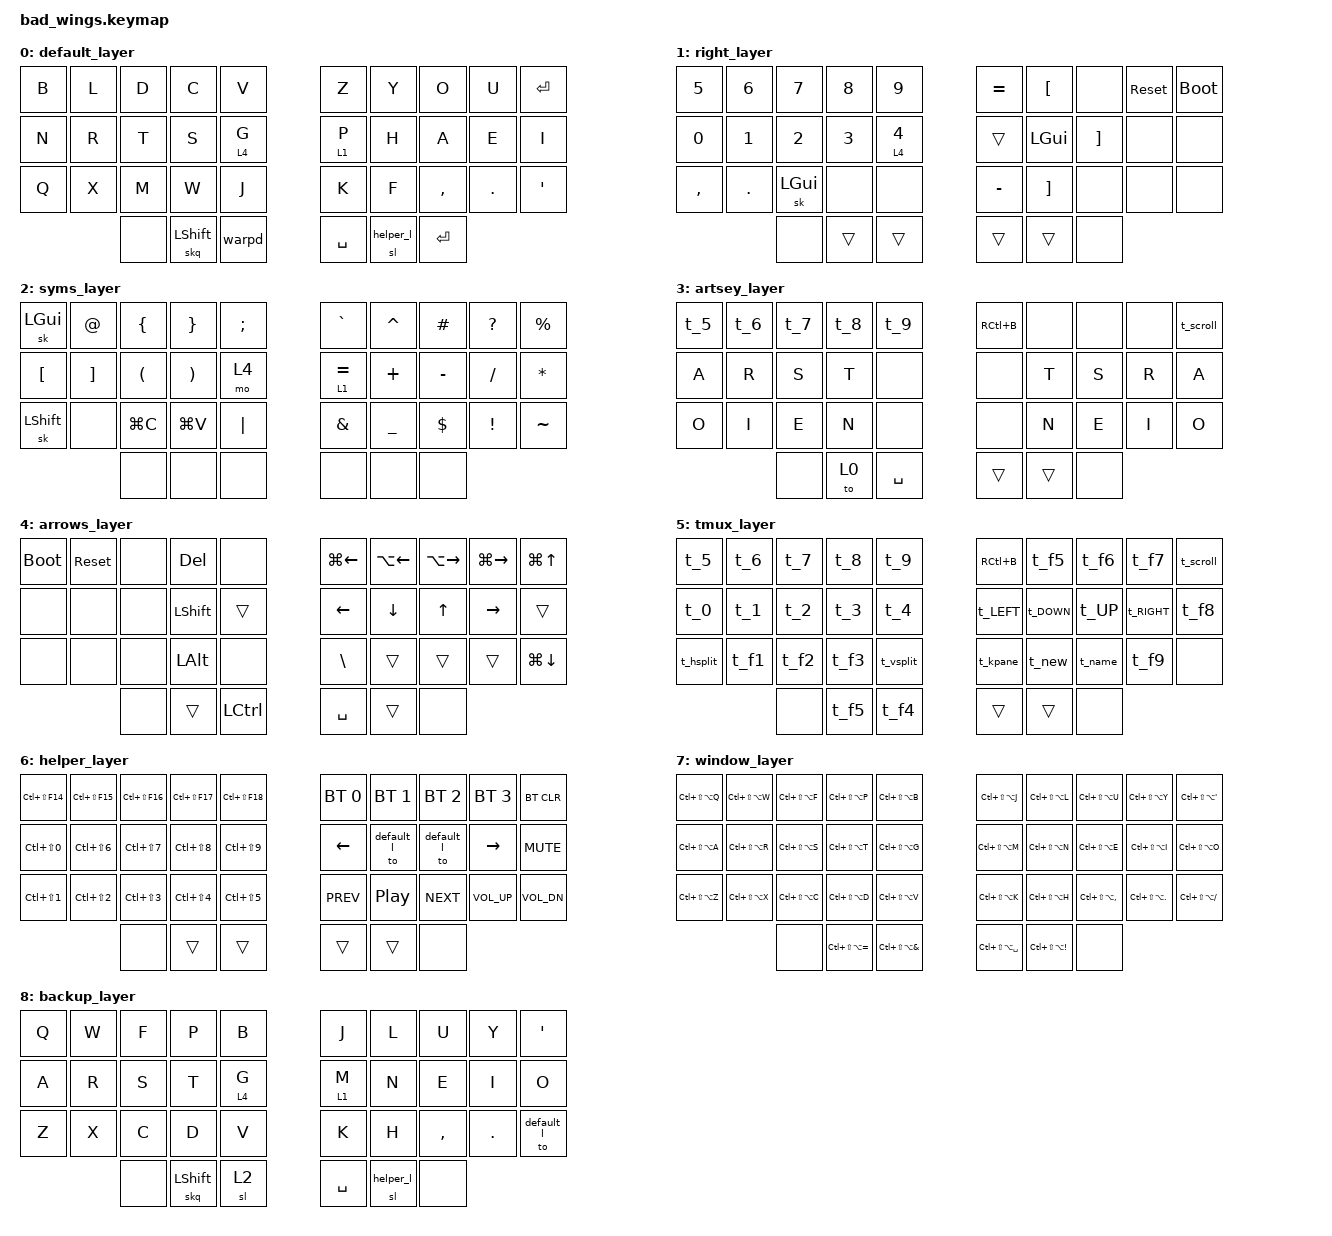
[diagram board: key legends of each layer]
/*
 * CopyRIGHT (c) 2020 The ZMK Contributors
 *
 * SPDX-License-Identifier: MIT
 */

#include <behaviors.dtsi>
#include <dt-bindings/zmk/keys.h>
#include <dt-bindings/zmk/bt.h>

#define default_l 0
#define nums_l    1
#define syms_l    2
#define artsey_l  3
#define arrows_l  4
#define tmux_l    5
#define helper_l  6
#define window_l  7
#define backup_l  8


// #define HRML(k1,k2,k3,k4) &ht LSHFT k1  &ht LALT k2  &ht LCTRL k3  &ht LGUI k4
// #define HRMR(k1,k2,k3,k4) &ht RGUI k1  &ht RCTRL k2  &ht RALT k3  &ht RSHFT k4

/ {

        macros {
            ZMK_MACRO(warpd,
                wait-ms = <30>;
                tap-ms = <40>;
                bindings = <&sk LALT &sk LALT &kp F >;
                )
            ZMK_MACRO(ff_tab,
                    wait-ms = <30>;
                    tap-ms = <40>;
                    bindings = <&kp LG(L) &kp PERCENT &kp SPACE >;
                )
            ZMK_MACRO(t_0,
                    wait-ms = <30>;
                    tap-ms = <40>;
                    bindings = <&kp RC(A) &kp N0 >;
                )

            ZMK_MACRO(t_1,
                    wait-ms = <30>;
                    tap-ms = <40>;
                    bindings = <&kp RC(A) &kp N1>;
                )

            ZMK_MACRO(t_2,
                    wait-ms = <30>;
                    tap-ms = <40>;
                    bindings = <&kp RC(A) &kp N2 >;
                )

            ZMK_MACRO(t_3,
                    wait-ms = <30>;
                    tap-ms = <40>;
                    bindings = <&kp RC(A) &kp N3>;
                )

            ZMK_MACRO(t_4,
                    wait-ms = <30>;
                    tap-ms = <40>;
                    bindings = <&kp RC(A) &kp N4 >;
                )

            ZMK_MACRO(t_5,
                    wait-ms = <30>;
                    tap-ms = <40>;
                    bindings = <&kp RC(A) &kp N5 >;
                )

            ZMK_MACRO(t_6,
                    wait-ms = <30>;
                    tap-ms = <40>;
                    bindings = <&kp RC(A) &kp N6 >;
                )

            ZMK_MACRO(t_7,
                    wait-ms = <30>;
                    tap-ms = <40>;
                    bindings = <&kp RC(A) &kp N7 >;
                )

            ZMK_MACRO(t_8,
                    wait-ms = <30>;
                    tap-ms = <40>;
                    bindings = <&kp RC(A) &kp N8 >;
                )

            ZMK_MACRO(t_9,
                    wait-ms = <30>;
                    tap-ms = <40>;
                    bindings = <&kp RC(A) &kp N9 >;
                )

            ZMK_MACRO(t_LEFT,
                    wait-ms = <30>;
                    tap-ms = <40>;
                    bindings = <&kp RC(A) &kp LEFT >;
                )

            ZMK_MACRO(t_RIGHT,
                    wait-ms = <30>;
                    tap-ms = <40>;
                    bindings = <&kp RC(A) &kp RIGHT >;
                )

            ZMK_MACRO(t_UP,
                    wait-ms = <30>;
                    tap-ms = <40>;
                    bindings = <&kp RC(A) &kp UP >;
                )

            ZMK_MACRO(t_DOWN,
                    wait-ms = <30>;
                    tap-ms = <40>;
                    bindings = <&kp RC(A) &kp DOWN >;
                )

            ZMK_MACRO(t_scroll,
                    wait-ms = <30>;
                    tap-ms = <40>;
                    bindings = <&kp RC(A) &kp PG_UP >;
                )

            ZMK_MACRO(t_hsplit,
                    wait-ms = <30>;
                    tap-ms = <40>;
                    bindings = <&kp RC(A) &kp MINUS >;
                )

            ZMK_MACRO(t_vsplit,
                    wait-ms = <30>;
                    tap-ms = <40>;
                    bindings = <&kp RC(A) &kp PIPE >;
                )


            ZMK_MACRO(t_kwin,
                    wait-ms = <30>;
                    tap-ms = <40>;
                    bindings = <&kp RC(A) &kp AMPS >;
                )
            ZMK_MACRO(t_new,
                    wait-ms = <30>;
                    tap-ms = <40>;
                    bindings = <&kp RC(A) &kp C >;
                )

            ZMK_MACRO(t_name,
                    wait-ms = <30>;
                    tap-ms = <40>;
                    bindings = <&kp RC(A) &kp COMMA >;
                )

            ZMK_MACRO(t_kpane,
                    wait-ms = <30>;
                    tap-ms = <40>;
                    bindings = <&kp RC(A) &kp X >;
                )
            ZMK_MACRO(skshft,
                    wait-ms = <30>;
                    tap-ms = <40>;
                    bindings = <&sk LSHIFT >;
                )


            ZMK_MACRO(t_f1,
                    wait-ms = <30>;
                    tap-ms = <40>;
                    bindings = <&kp RC(A) &kp F1>;
                )

            ZMK_MACRO(t_f2,
                    wait-ms = <30>;
                    tap-ms = <40>;
                    bindings = <&kp RC(A) &kp F2 >;
                )

            ZMK_MACRO(t_f3,
                    wait-ms = <30>;
                    tap-ms = <40>;
                    bindings = <&kp RC(A) &kp F3>;
                )

            ZMK_MACRO(t_f4,
                    wait-ms = <30>;
                    tap-ms = <40>;
                    bindings = <&kp RC(A) &sl 5 >;
                )

            ZMK_MACRO(t_f5,
                    wait-ms = <30>;
                    tap-ms = <40>;
                    bindings = <&kp RC(A) &kp F5 >;
                )

            ZMK_MACRO(t_f6,
                    wait-ms = <30>;
                    tap-ms = <40>;
                    bindings = <&kp RC(A) &kp F6 >;
                )

            ZMK_MACRO(t_f7,
                    wait-ms = <30>;
                    tap-ms = <40>;
                    bindings = <&kp RC(A) &kp F7 >;
                )

            ZMK_MACRO(t_f8,
                    wait-ms = <30>;
                    tap-ms = <40>;
                    bindings = <&kp RC(A) &kp F8 >;
                )

            ZMK_MACRO(t_f9,
                    wait-ms = <30>;
                    tap-ms = <40>;
                    bindings = <&kp RC(A) &kp F9 >;
                )

                
    };
    combos {
        compatible = "zmk,combos";
        combo_enter {
            timeout-ms = <100>;
            key-positions = <26 27 28>;
            bindings = <&kp ENTER>;
            // require-prior-idle-ms = <150>;
            layers = <0 1 2>;
        };
        combo_esc {
            timeout-ms = <50>;
            key-positions = <27 28>;
            bindings = <&kp ESC>;
            layers = <0 1 2>;
        };
         combo_sk_alt {
            timeout-ms = <50>;
            key-positions = <1 2>;
            bindings = <&sk LALT>;
            layers = <0 1 2>;
        };
         combo_iterm {
            timeout-ms = <50>;
            key-positions = <15 16>;
            bindings = <&kp LC(BSLH)>;
            layers = <0 1 2>;
        };
         combo_sk_ctrl {
            timeout-ms = <50>;
            key-positions = <21 22>;
            bindings = <&sk LCTRL>;
            layers = <0 1 2>;
        };
        
         combo_backslash {
            timeout-ms = <50>;
            key-positions = <5 6>;
            bindings = <&kp BSLH>;
            layers = <0 1 2 8>;
        };
         combo_backspace {
            timeout-ms = <50>;
            key-positions = <11 12>;
            bindings = <&kp BACKSPACE>;
            layers = <0 1 2 8>;
        };
        combo_backspace_fast {
            timeout-ms = <15>;
            key-positions = <17 18>;
            bindings = <&kp BACKSPACE>;
            require-prior-idle-ms = <100>;
            layers = <0 3>;
        };
        
            combo_repeat {
            timeout-ms = <50>;
            key-positions = <22 23>;
            bindings = <&key_repeat>;
            layers = <0 1 2>;
        };
            combo_repeat_artsey {
            timeout-ms = <50>;
            key-positions = <16 26>;
            bindings = <&key_repeat>;
            layers = <3>;
        };
         combo_sk_lgui {
            timeout-ms = <100>;
            key-positions = <2 12>;
            bindings = <&sk LGUI>;
            layers = <0 1 2>;
        };
         combo_sk_rgui {
            timeout-ms = <100>;
            key-positions = <7 17>;
            bindings = <&sk RGUI>;
            layers = <0 1 2 3>;
        };
        
            combo_tab {
            timeout-ms = <50>;
            key-positions = <13 14>;
            bindings = <&kp TAB>;
            layers = <0 1 2>;
        };
        
            combo_colon {
            timeout-ms = <100>;
            key-positions = <17 27>;
            bindings = <&kp COLN>;
            layers = <0 1 2>;
        };



        
        
           combo_meh_layer {
            timeout-ms = <50>;
            key-positions = <3 13>;
            bindings = <&sl 7>;
            layers = <0 1 2>;
        };
           combo_copy {
            timeout-ms = <120>;
            key-positions = <21 23>;
            bindings = <&kp LG(C)>;
            layers = <0 1 2>;
        };
           combo_alfred {
            timeout-ms = <50>;
            key-positions = <6 16>;
            bindings = <&kp LA(SPACE)>;
            layers = <0 1 2 3>;
        };
           combo_paste {
            timeout-ms = <120>;
            key-positions = <21 22 23>;
            bindings = <&kp LG(V)>;
            layers = <0 1 2>;
        };
            combo_caps_word {
            timeout-ms = <120>;
            key-positions = <11 12 13>;
            bindings = <&caps_word>;
            layers = <0 1 2>;
        };
        /*
        * SYMBOL COMBOS
        */
           combo_lbrc {
            timeout-ms = <120>;
            key-positions = <2 3>;
            bindings = <&kp LBRC>;
            require-prior-idle-ms = <100>;
            layers = <0 1 2>;
        };
                   combo_rbrc {
            timeout-ms = <120>;
            key-positions = <3 4>;
            bindings = <&kp RBRC >;
            require-prior-idle-ms = <100>;
            layers = <0 1 2>;
        };
                   combo_rprn {
            timeout-ms = <50>;
            key-positions = <6 7>;
            bindings = <&kp LPRN>;
            require-prior-idle-ms = <100>;
            layers = <0 1 2 8>;
        };
                   combo_lbrn {
            timeout-ms = <120>;
            key-positions = <7 8>;
            bindings = <&kp RPRN>;
            require-prior-idle-ms = <100>;
            layers = <0 1 2 8>;
        };
                   combo_qstn {
            timeout-ms = <120>;
            key-positions = <1 11>;
            bindings = <&kp QMARK>;
            layers = <0 1 2>;
        };
                   combo_exclm {
            timeout-ms = <120>;
            key-positions = <11 21>;
            bindings = <&kp EXCL>;
            layers = <0 1 2>;
        };
                   combo_rbrk {
            timeout-ms = <120>;
            key-positions = <12 21>;
            bindings = <&kp LBKT>;
            require-prior-idle-ms = <100>;
            layers = <0 1 2>;
        };
        combo_emailat {
            timeout-ms = <120>;
            key-positions = <15 6>;
            bindings = <&kp AT>;
            layers = <0 1 2>;
        };
        combo_carrot {
            timeout-ms = <120>;
            key-positions = <2 11>;
            bindings = <&kp CARET>;
            layers = <0 1 2>;
        };
                   combo_lbrk {
            timeout-ms = <120>;
            key-positions = <12 23>;
            bindings = <&kp RBKT>;
            require-prior-idle-ms = <100>;
            layers = <0 1 2>;
        };
                   combo_underscore {
            timeout-ms = <120>;
            key-positions = <23 24>;
            bindings = <&kp UNDER>;
            layers = <0 1 2>;
        };
                     combo_equal {
            timeout-ms = <120>;
            key-positions = <26 27>;
            bindings = <&kp EQUAL>;
            layers = <0 1 2>;
        };
                   combo_ast {
            timeout-ms = <120>;
            key-positions = <25 16 >;
            bindings = <&kp ASTERISK>;
            layers = <0 1 2>;
        };
                   combo_hash {
            timeout-ms = <120>;
            key-positions = <8 18>;
            bindings = <&kp HASH>;
            layers = <0 1 2>;
        };
                   combo_fslash {
            timeout-ms = <120>;
            key-positions = <16 26>;
            bindings = <&kp FSLH>;
            layers = <0 1 2>;
        };
        
                   combo_plus {
            timeout-ms = <120>;
            key-positions = <25 26>;
            bindings = <&kp PLUS>;
            layers = <0 1 2>;
        };
                   combo_percent {
            timeout-ms = <120>;
            key-positions = <18 28>;
            bindings = <&kp PERCENT>;
            layers = <0 1 2>;
        };
                   combo_semicolon {
            timeout-ms = <120>;
            key-positions = <4 14>;
            bindings = <&kp SEMICOLON >;
            layers = <0 1 2>; 
        };
          
                   combo_tilda {
            timeout-ms = <120>;
            key-positions = <2 13>;
            bindings = <&kp TILDE>;
            layers = <0 1 2>;
        };
                   combo_dash {
            timeout-ms = <120>;
            key-positions = <16 17 18>;
            bindings = <&kp MINUS>;
            layers = <0 1 2>;
        };
                           combo_pipe {
            timeout-ms = <120>;
            key-positions = < 14 24>;
            bindings = <&kp PIPE>;
            layers = <0 1 2>;
        };
                   combo_dollar {
            timeout-ms = <120>;
            key-positions = <3 14>;
            bindings = <&kp DLLR>;
            layers = <0 1 2>;
        };

        /*
        * LAYER COMBOS
        */
            combo_tmux {
            timeout-ms = <170>;
            key-positions = <1 2 3>;
            bindings = <&sl tmux_l>;
            layers = <0 1 2>;
        };
    };


    behaviors {
        ht: hold_tap {
            compatible = "zmk,behavior-hold-tap";
            #binding-cells = <2>;
            flavor = "tap-preferred";
            tapping-term-ms = <220>;
            quick-tap-ms = <150>;
            require-prior-idle-ms = <100>;
            bindings = <&kp>, <&kp>;
        };
         skq: sticky_key_quick_release {
        compatible = "zmk,behavior-sticky-key";
        label = "STICKY_KEY_QUICK_RELEASE";
        #binding-cells = <1>;
        bindings = <&kp>;
        release-after-ms = <500>;
        quick-release;
        };
    };
        keymap {
                compatible = "zmk,keymap";
                
       		default_layer {
		            bindings = <
             &kp B      &kp L      &kp D      &kp C      &kp V         &kp Z      &kp Y      &kp O      &kp U      &kp ENTER
             &kp N    &kp R     &kp T     &kp S          &lt 4 G       &lt 1 P    &kp H      &kp A     &kp E    &kp I
             &kp Q       &kp X     &kp M     &kp W       &kp J         &kp K      &kp F      &kp COMMA    &kp DOT   &kp SQT
                                      &none   &skq LSHIFT  &warpd  	   	   &kp SPACE  &sl helper_l &kp ENTER
            >;
        };

        right_layer {
            bindings = <
        //╭──────────┬──────────┬──────────┬──────────┬──────────╮   ╭──────────┬──────────┬──────────┬──────────┬──────────╮
            &kp N5       &kp N6    &kp N7     &kp N8       &kp N9	  &kp EQUAL   &kp LBKT &none      &sys_reset   &bootloader
        //│  5       │  6       │  7       │  8       │  9       │   │  =       │  [       │          │          │          │
        //├──────────┼──────────┼──────────┼──────────┼──────────┤   ├──────────┼──────────┼──────────┼──────────┼──────────┤
            &kp N0   &kp N1    &kp N2  &kp N3   &lt 4 N4 		    &trans      &kp LGUI &kp RBKT   &none   &none  
        //│  0       │  1       │  2       │  3       │  4       │   │          │  RGUI    │  ]       │          │          │
        //├──────────┼──────────┼──────────┼──────────┼──────────┤   ├──────────┼──────────┼──────────┼──────────┼──────────┤
           &kp COMMA   &kp DOT 	 &sk LGUI   &none       &none  	      &kp MINUS   &kp RBKT &none      &none   &none  
        //│  ,       │  .       │  RGUI    │          │          │   │  -       │  ]       │          │          │          │
        //╰──────────┴──────────┴──────────┼──────────┼──────────┤   ├──────────┼──────────┼──────────┴──────────┴──────────╯
                                      &none        &trans     &trans        &trans     &trans &none
        //                                 ╰──────────┴──────────╯   ╰──────────┴──────────╯
            >;
        };

        syms_layer {
		bindings = <                                                                                                     
		&sk LGUI    &kp AT      &kp LBRC    &kp RBRC    &kp SEMICOLON   &kp GRAVE     &kp CARET &kp HASH    &kp QMARK  &kp PERCENT 
		&kp LBKT    &kp RBKT    &kp LPAR    &kp RPAR    &mo 4 		      &lt 1 EQUAL   &kp PLUS &kp MINUS    &kp FSLH   &kp ASTERISK
		&sk LSHIFT  &none 	    &kp LG(C)    &kp LG(V)    &kp PIPE 	                &kp AMPS      &kp UNDER &kp DLLR    &kp EXCL   &kp TILDE 
         &none &none &none &none &none &none
		>;
        };
        artsey_layer {
		bindings = <
		&t_5        &t_6       &t_7         &t_8        &t_9    			    &kp RC(B)       &none       &none              &none        &t_scroll  
		&kp A        &kp R       &kp S         &kp T        &none 			     &none          &kp T        &kp S       &kp R         &kp A        
		&kp O        &kp I       &kp E         &kp N        &none                &none           &kp N        &kp E       &kp I         &kp O        
					                    &none    &to 0      &kp SPACE 			        &trans  &trans &none 
		>;
		};	

		arrows_layer {
		bindings = <
		&bootloader &sys_reset       &none       &kp DEL       &none    			    &kp LG(LEFT)    &kp LA(LEFT)  &kp LA(RIGHT)    &kp LG(RIGHT) &kp LG(UP) 
		&none       &none       &none       &kp LSHIFT   &trans 			        &kp LEFT        &kp DOWN      &kp UP           &kp RIGHT     &trans 
		&none       &none       &none       &kp LALT       &none                   &kp BSLH        &trans        &trans           &trans        &kp LG(DOWN)
					                  &none       &trans      &kp LCTRL                  &kp SPACE  &trans  &none
		>;
		};	

        tmux_layer {
		bindings = <
		&t_5        &t_6       &t_7         &t_8        &t_9    			    &kp RC(B)       &t_f5       &t_f6              &t_f7        &t_scroll  
		&t_0        &t_1       &t_2         &t_3        &t_4 			        &t_LEFT         &t_DOWN     &t_UP              &t_RIGHT     &t_f8 
		&t_hsplit   &t_f1       &t_f2       &t_f3     &t_vsplit               &t_kpane        &t_new      &t_name            &t_f9        &none 
					                   &none      &t_f5      &t_f4 			        &trans  &trans  &none
		>;
		};	
		
		helper_layer {
		bindings = <
		&kp LC(LS(F14)) &kp LC(LS(F15)) &kp LC(LS(F16)) &kp LC(LS(F17)) &kp LC(LS(F18)) 		    &bt BT_SEL 0    &bt BT_SEL 1 &bt BT_SEL 2      &bt BT_SEL 3 &bt BT_CLR
		&kp LC(LS(N0)) &kp LC(LS(N6)) &kp LC(LS(N7)) &kp LC(LS(N8)) &kp LC(LS(N9))  		    &kp LEFT        &to default_l      &to default_l            &kp RIGHT   &kp K_MUTE 
		&kp LC(LS(N1))  &kp LC(LS(N2)) &kp LC(LS(N3)) &kp LC(LS(N4)) &kp LC(LS(N5))   			&kp C_PREV  &kp C_PP  &kp C_NEXT           &kp C_VOL_UP  &kp C_VOL_DN   
					                    &none     &trans      &trans  			    &trans &trans  &none
		>;
		};	
        window_layer {
		bindings = <
        &kp LC(LS(LA(Q)))    &kp LC(LS(LA(W)))    &kp LC(LS(LA(F)))    &kp LC(LS(LA(P)))    &kp LC(LS(LA(B)))            &kp LC(LS(LA(J)))    &kp LC(LS(LA(L)))   &kp LC(LS(LA(U)))        &kp LC(LS(LA(Y))) &kp LC(LS(LA(SQT)))
        &kp LC(LS(LA(A)))    &kp LC(LS(LA(R)))    &kp LC(LS(LA(S)))    &kp LC(LS(LA(T)))    &kp LC(LS(LA(G)))            &kp LC(LS(LA(M)))    &kp LC(LS(LA(N)))   &kp LC(LS(LA(E)))       &kp LC(LS(LA(I)))   &kp LC(LS(LA(O)))
        &kp LC(LS(LA(Z)))    &kp LC(LS(LA(X)))    &kp LC(LS(LA(C)))    &kp LC(LS(LA(D)))    &kp LC(LS(LA(V)))            &kp LC(LS(LA(K)))    &kp LC(LS(LA(H)))   &kp LC(LS(LA(COMMA)))      &kp LC(LS(LA(DOT))) &kp LC(LS(LA(SLASH)))
                                                                &none        &kp LC(LS(LA(EQUAL))) &kp LC(LS(LA(AMPS)))        &kp LC(LS(LA(SPACE))) &kp LC(LS(LA(EXCL)))  &none
		>;
        };
        backup_layer {
            bindings = <
             &kp Q      &kp W      &kp F      &kp P      &kp B         &kp J      &kp L      &kp U      &kp Y      &kp SQT
             &kp A    &kp R     &kp S     &kp T          &lt 4 G       &lt 1 M    &kp N      &kp E     &kp I    &kp O
             &kp Z       &kp X     &kp C     &kp D       &kp V         &kp K      &kp H      &kp COMMA    &kp DOT    &to default_l
                                   &none      &skq LSHIFT  &sl 2  	   	   &kp SPACE  &sl helper_l &none
            >;
		}; 
	};
};
